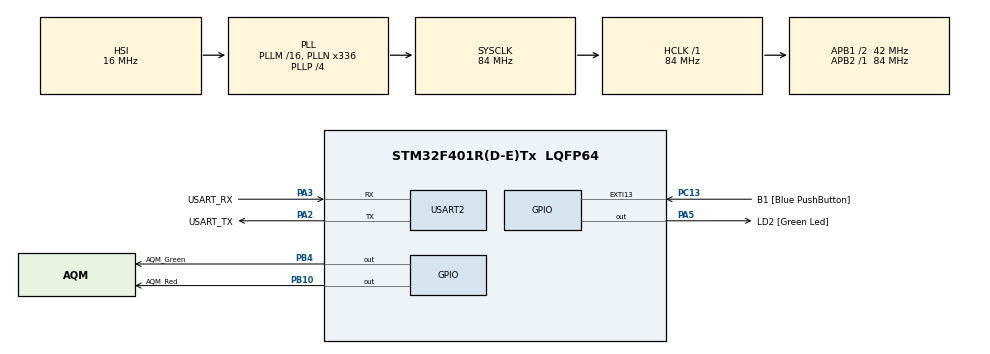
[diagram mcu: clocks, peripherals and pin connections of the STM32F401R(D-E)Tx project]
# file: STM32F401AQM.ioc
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Mcu.Family=STM32F4
Mcu.Name=STM32F401R(D-E)Tx
Mcu.Package=LQFP64
NVIC.PriorityGroup=NVIC_PRIORITYGROUP_0
PA13.GPIO_Label=TMS
PA13.Mode=Serial_Wire
PA13.Signal=SYS_JTMS-SWDIO
PA14.GPIO_Label=TCK
PA14.Mode=Serial_Wire
PA14.Signal=SYS_JTCK-SWCLK
PA2.GPIO_Label=USART_TX
PA2.GPIO_Mode=GPIO_MODE_AF_PP
PA2.GPIO_PuPd=GPIO_NOPULL
PA2.GPIO_Speed=GPIO_SPEED_FREQ_LOW
PA2.Mode=Asynchronous
PA2.Signal=USART2_TX
PA3.GPIO_Label=USART_RX
PA3.GPIO_Mode=GPIO_MODE_AF_PP
PA3.GPIO_PuPd=GPIO_NOPULL
PA3.GPIO_Speed=GPIO_SPEED_FREQ_LOW
PA3.Mode=Asynchronous
PA3.Signal=USART2_RX
PA5.GPIO_Label=LD2 [Green Led]
PA5.GPIO_Mode=GPIO_MODE_OUTPUT_PP
PA5.GPIO_PuPd=GPIO_NOPULL
PA5.GPIO_Speed=GPIO_SPEED_FREQ_LOW
PA5.Signal=GPIO_Output
PB10.GPIO_Label=AQM_Red
PB10.Signal=GPIO_Output
PB3.GPIO_Label=SWO
PB3.Signal=SYS_JTDO-SWO
PB4.GPIO_Label=AQM_Green
PB4.Signal=GPIO_Output
PC13-ANTI_TAMP.GPIO_Label=B1 [Blue PushButton]
PC13-ANTI_TAMP.GPIO_ModeDefaultEXTI=GPIO_MODE_IT_FALLING
PC13-ANTI_TAMP.GPIO_PuPd=GPIO_NOPULL
PC13-ANTI_TAMP.Signal=GPXTI13
PC14-OSC32_IN.Mode=LSE-External-Oscillator
PC14-OSC32_IN.Signal=RCC_OSC32_IN
PC15-OSC32_OUT.Mode=LSE-External-Oscillator
PC15-OSC32_OUT.Signal=RCC_OSC32_OUT
PH0\ -\ OSC_IN.Mode=HSE-External-Clock-Source
PH0\ -\ OSC_IN.Signal=RCC_OSC_IN
PH1\ -\ OSC_OUT.Mode=HSE-External-Clock-Source
PH1\ -\ OSC_OUT.Signal=RCC_OSC_OUT
ProjectManager.HeapSize=0x200
ProjectManager.StackSize=0x400
ProjectManager.TargetToolchain=STM32CubeIDE
RCC.48MHZClocksFreq_Value=48000000
RCC.AHBFreq_Value=84000000
RCC.APB1CLKDivider=RCC_HCLK_DIV2
RCC.APB1Freq_Value=42000000
RCC.APB1TimFreq_Value=84000000
RCC.APB2Freq_Value=84000000
RCC.APB2TimFreq_Value=84000000
RCC.CortexFreq_Value=84000000
RCC.HCLKFreq_Value=84000000
RCC.HSE_VALUE=8000000
RCC.HSI_VALUE=16000000
RCC.PLLN=336
RCC.PLLP=RCC_PLLP_DIV4
RCC.PLLQ=7
RCC.SYSCLKFreq_VALUE=84000000
RCC.SYSCLKSource=RCC_SYSCLKSOURCE_PLLCLK
RCC.VCOOutputFreq_Value=336000000
TIM10.Period=20000
TIM10.Prescaler=8400-1
USART2.VirtualMode=VM_ASYNC
VP_TIM10_VS_ClockSourceINT.Mode=Enable_Timer
board=NUCLEO-F401RE

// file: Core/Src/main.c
/* USER CODE BEGIN Header */
/**
  ******************************************************************************
  * @file           : main.c
  * @brief          : Main program body
  ******************************************************************************
  * @attention
  *
  * Copyright (c) 2023 STMicroelectronics.
  * All rights reserved.
  *
  * This software is licensed under terms that can be found in the LICENSE file
  * in the root directory of this software component.
  * If no LICENSE file comes with this software, it is provided AS-IS.
  *
  ******************************************************************************
  */
/* USER CODE END Header */
#include "main.h"

/* USER CODE BEGIN Includes */
// library for using DHT11 sensor
#include "DHT.h"
#include <stdio.h>
// will remove and create own implementation if necessary
/* USER CODE END Includes */

TIM_HandleTypeDef htim10;

UART_HandleTypeDef huart2;

void SystemClock_Config(void);
static void MX_GPIO_Init(void);
static void MX_USART2_UART_Init(void);
static void MX_TIM10_Init(void);
/* USER CODE BEGIN PFP */
uint16_t microToMilli(uint16_t time);
/* USER CODE END PFP */

/* USER CODE BEGIN 0 */
//For console printing
#ifdef __GNUC__
#define PUTCHAR_PROTOTYPE int __io_putchar(int ch)
#else
#define PUTCHAR_PROTOTYPE int fputc(int ch, FILE *f)
#endif

PUTCHAR_PROTOTYPE
{
  HAL_UART_Transmit(&huart2, (uint8_t *)&ch, 1, HAL_MAX_DELAY);
  return ch;
}

// Data type to hold DHT11 readings
// From DHT library
DHT_DataTypedef DHT_Data;

/* USER CODE END 0 */

int main(void)
{

  /* MCU Configuration--------------------------------------------------------*/

  /* Reset of all peripherals, Initializes the Flash interface and the Systick. */
  HAL_Init();

  /* Configure the system clock */
  SystemClock_Config();

  /* Initialize all configured peripherals */
  MX_GPIO_Init();
  MX_USART2_UART_Init();
  MX_TIM10_Init();
  /* USER CODE BEGIN 2 */
  HAL_TIM_Base_Start(&htim10);

  uint16_t timerCount = __HAL_TIM_GET_COUNTER(&htim10);

   Lcd_PortType ports[] = { GPIOC, GPIOB, GPIOA, GPIOA };
   Lcd_PinType pins[] = {GPIO_PIN_7, GPIO_PIN_6, GPIO_PIN_7, GPIO_PIN_6};
   Lcd_HandleTypeDef lcd;
   // Lcd_create(ports, pins, RS_GPIO_Port, RS_Pin, EN_GPIO_Port, EN_Pin, LCD_4_BIT_MODE);
   lcd = Lcd_create(ports, pins, GPIOB, GPIO_PIN_5, GPIOB, GPIO_PIN_4, LCD_4_BIT_MODE);

  // Adjustable humidity bounds, hmdUpper must always be greater than hmdLower
  // (or it will never turn green)
  float hmdUpper = 60.00;
  float hmdLower = 50.00;
  /* USER CODE END 2 */

  /* Infinite loop */
  /* USER CODE BEGIN WHILE */
  while (1)
  {
	  // if 2 seconds has passed
	  // with 8400 prescaler, timer ticks at rate of 84 MHz/ 8400 = 10 kHz
	  // 10 kHz = 10000 ticks per second
	  // at 20000 ticks we get 2 seconds
	  if((__HAL_TIM_GET_COUNTER(&htim10) - timerCount) >= 20000)
	  {
			DHT_GetData(&DHT_Data);
			printf("%f\n", DHT_Data.Temperature);
			printf("%f\n", DHT_Data.Humidity);
			// update LCD
			/*
			 LCD UPDATE CODE BELOW
			 */
		        Lcd_cursor(&lcd, 0, 1);
	  	 	Lcd_string(&lcd, "Temp: ");
	  	        // Convert temperature to string and display
             		char tempStr[10];
	  	        sprintf(tempStr, "%.2f", DHT_Data.Temperature);
	  	        Lcd_string(&lcd, tempStr);

	  	 	Lcd_cursor(&lcd, 1, 1);
	  	 	Lcd_string(&lcd, "RH: ");
	  	 	// Convert humidity to string and display
	  	 	char humidityStr[10];
	  	 	sprintf(humidityStr, "%.2f", DHT_Data.Humidity);
	  	 	Lcd_string(&lcd, humidityStr);
			/*
			 END LCD UPDATE CODE
			 */
			// change LEDs as necessary
			// within good bounds
			if((DHT_Data.Humidity >= hmdLower) && (DHT_Data.Humidity <= hmdUpper))
			{
				// Green LED on, Red off
				// if green off
				if(!HAL_GPIO_ReadPin(AQM_Green_GPIO_Port, AQM_Green_Pin))
				{
					// turn green on
					HAL_GPIO_TogglePin(AQM_Green_GPIO_Port, AQM_Green_Pin);
				}
				// if red on
				if(HAL_GPIO_ReadPin(AQM_Red_GPIO_Port, AQM_Red_Pin))
				{
					// turn red off
					HAL_GPIO_TogglePin(AQM_Red_GPIO_Port, AQM_Red_Pin);
				}
			}
			// outside of good bounds
			else
			{
				// if green on
				if(HAL_GPIO_ReadPin(AQM_Green_GPIO_Port, AQM_Green_Pin))
				{
					HAL_GPIO_TogglePin(AQM_Green_GPIO_Port, AQM_Green_Pin);
				}
				// if red off
				if(!HAL_GPIO_ReadPin(AQM_Red_GPIO_Port, AQM_Red_Pin))
				{
					HAL_GPIO_TogglePin(AQM_Red_GPIO_Port, AQM_Red_Pin);
				}
			}
			timerCount = __HAL_TIM_GET_COUNTER(&htim10);
	  }

	  // Testing code
	  /*
	  HAL_GPIO_TogglePin(AQM_Red_GPIO_Port, AQM_Red_Pin);
	  HAL_GPIO_TogglePin(AQM_Green_GPIO_Port, AQM_Green_Pin);
	  DHT_GetData(&DHT_Data);
	  printf("%f\n", DHT_Data.Temperature);
	  printf("%f\n", DHT_Data.Humidity);
	  HAL_Delay(4000);
	  */

    /* USER CODE END WHILE */

  }
}

void SystemClock_Config(void)
{
  RCC_OscInitTypeDef RCC_OscInitStruct = {0};
  RCC_ClkInitTypeDef RCC_ClkInitStruct = {0};

  /** Configure the main internal regulator output voltage
  */
  __HAL_RCC_PWR_CLK_ENABLE();
  __HAL_PWR_VOLTAGESCALING_CONFIG(PWR_REGULATOR_VOLTAGE_SCALE2);

  /** Initializes the RCC Oscillators according to the specified parameters
  * in the RCC_OscInitTypeDef structure.
  */
  RCC_OscInitStruct.OscillatorType = RCC_OSCILLATORTYPE_HSI;
  RCC_OscInitStruct.HSIState = RCC_HSI_ON;
  RCC_OscInitStruct.HSICalibrationValue = RCC_HSICALIBRATION_DEFAULT;
  RCC_OscInitStruct.PLL.PLLState = RCC_PLL_ON;
  RCC_OscInitStruct.PLL.PLLSource = RCC_PLLSOURCE_HSI;
  RCC_OscInitStruct.PLL.PLLM = 16;
  RCC_OscInitStruct.PLL.PLLN = 336;
  RCC_OscInitStruct.PLL.PLLP = RCC_PLLP_DIV4;
  RCC_OscInitStruct.PLL.PLLQ = 7;
  if (HAL_RCC_OscConfig(&RCC_OscInitStruct) != HAL_OK)
  {
    Error_Handler();
  }

  /** Initializes the CPU, AHB and APB buses clocks
  */
  RCC_ClkInitStruct.ClockType = RCC_CLOCKTYPE_HCLK|RCC_CLOCKTYPE_SYSCLK
                              |RCC_CLOCKTYPE_PCLK1|RCC_CLOCKTYPE_PCLK2;
  RCC_ClkInitStruct.SYSCLKSource = RCC_SYSCLKSOURCE_PLLCLK;
  RCC_ClkInitStruct.AHBCLKDivider = RCC_SYSCLK_DIV1;
  RCC_ClkInitStruct.APB1CLKDivider = RCC_HCLK_DIV2;
  RCC_ClkInitStruct.APB2CLKDivider = RCC_HCLK_DIV1;

  if (HAL_RCC_ClockConfig(&RCC_ClkInitStruct, FLASH_LATENCY_2) != HAL_OK)
  {
    Error_Handler();
  }
}

static void MX_TIM10_Init(void)
{

  htim10.Instance = TIM10;
  htim10.Init.Prescaler = 8400-1;
  htim10.Init.CounterMode = TIM_COUNTERMODE_UP;
  htim10.Init.Period = 20000;
  htim10.Init.ClockDivision = TIM_CLOCKDIVISION_DIV1;
  htim10.Init.AutoReloadPreload = TIM_AUTORELOAD_PRELOAD_DISABLE;
  if (HAL_TIM_Base_Init(&htim10) != HAL_OK)
  {
    Error_Handler();
  }

}

static void MX_USART2_UART_Init(void)
{

  huart2.Instance = USART2;
  huart2.Init.BaudRate = 115200;
  huart2.Init.WordLength = UART_WORDLENGTH_8B;
  huart2.Init.StopBits = UART_STOPBITS_1;
  huart2.Init.Parity = UART_PARITY_NONE;
  huart2.Init.Mode = UART_MODE_TX_RX;
  huart2.Init.HwFlowCtl = UART_HWCONTROL_NONE;
  huart2.Init.OverSampling = UART_OVERSAMPLING_16;
  if (HAL_UART_Init(&huart2) != HAL_OK)
  {
    Error_Handler();
  }

}

static void MX_GPIO_Init(void)
{
  GPIO_InitTypeDef GPIO_InitStruct = {0};

  /* GPIO Ports Clock Enable */
  __HAL_RCC_GPIOC_CLK_ENABLE();
  __HAL_RCC_GPIOH_CLK_ENABLE();
  __HAL_RCC_GPIOA_CLK_ENABLE();
  __HAL_RCC_GPIOB_CLK_ENABLE();

  /*Configure GPIO pin Output Level */
  HAL_GPIO_WritePin(LD2_GPIO_Port, LD2_Pin, GPIO_PIN_RESET);

  /*Configure GPIO pin Output Level */
  HAL_GPIO_WritePin(GPIOB, AQM_Red_Pin|AQM_Green_Pin, GPIO_PIN_RESET);

  /*Configure GPIO pin : B1_Pin */
  GPIO_InitStruct.Pin = B1_Pin;
  GPIO_InitStruct.Mode = GPIO_MODE_IT_FALLING;
  GPIO_InitStruct.Pull = GPIO_NOPULL;
  HAL_GPIO_Init(B1_GPIO_Port, &GPIO_InitStruct);

  /*Configure GPIO pin : LD2_Pin */
  GPIO_InitStruct.Pin = LD2_Pin;
  GPIO_InitStruct.Mode = GPIO_MODE_OUTPUT_PP;
  GPIO_InitStruct.Pull = GPIO_NOPULL;
  GPIO_InitStruct.Speed = GPIO_SPEED_FREQ_LOW;
  HAL_GPIO_Init(LD2_GPIO_Port, &GPIO_InitStruct);

  /*Configure GPIO pins : AQM_Red_Pin AQM_Green_Pin */
  GPIO_InitStruct.Pin = AQM_Red_Pin|AQM_Green_Pin;
  GPIO_InitStruct.Mode = GPIO_MODE_OUTPUT_PP;
  GPIO_InitStruct.Pull = GPIO_NOPULL;
  GPIO_InitStruct.Speed = GPIO_SPEED_FREQ_LOW;
  HAL_GPIO_Init(GPIOB, &GPIO_InitStruct);

}

void Error_Handler(void)
{
  __disable_irq();
  while (1)
  {
  }
}
